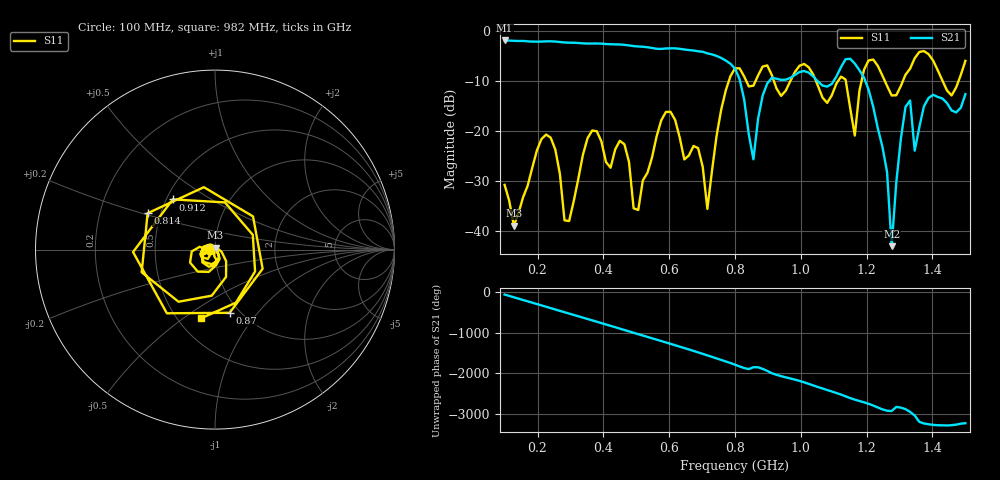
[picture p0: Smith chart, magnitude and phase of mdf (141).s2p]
! NanoVNA-App
! Date: 2025-09-25 15:39:31
! Start: 100MHz Stop: 1,5GHz Points: 101
! S-Parameter data: F S11 S21 S12 S22
# Hz S RI R 50
!  Frequency  S11_Real  S11_Imag  S21_Real  S21_Imag  S12_Real  S12_Imag  S22_Real  S22_Imag
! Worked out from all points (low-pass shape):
!   101 points, 100 MHz to 1.5 GHz, reference 50 ohm
!   highest |S21| = -1.80 dB at 100 MHz (marker M1); lowest = -43.1 dB at 1.276 GHz (marker M2)
!   |S21| within 3 dB of the highest: start of sweep to 739.4 MHz
!   lowest |S11| = -38.9 dB at 128 MHz (marker M3), VSWR 1.02, Z = 50.3 + j1.08 ohm
!   |S11| at or under -10 dB: start of sweep to 781 MHz; 1.046 GHz to 1.113 GHz (66.35 MHz wide, 6.15 % of centre); 1.256 GHz to 1.31 GHz (54.05 MHz wide, 4.21 % of centre) (the widest 3 of 7)
!   S12 and S22 are empty: the file has one direction only
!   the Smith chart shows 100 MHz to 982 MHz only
!   S11 on the Smith chart (normalised r, x): 100 MHz: 0.94, -0.01; 814 MHz: 0.42, +0.21; 870 MHz: 0.90, -0.73; 912 MHz: 0.54, +0.35; 982 MHz: 0.64, -0.58
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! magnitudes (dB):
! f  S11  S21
! 100 MHz  -30.8  -1.8
! 128 MHz  -38.9  -1.9
! 212 MHz  -21.6  -2.0
! 282 MHz  -37.9  -2.2
! 338 MHz  -24.7  -2.4
! 464 MHz  -22.6  -2.7
! 506 MHz  -35.8  -3.0
! 576 MHz  -17.8  -3.5
! 716 MHz  -35.6  -4.4
! 800 MHz  -7.4  -7.4
! 814 MHz  -7.4  -9.6
! 856 MHz  -10.9  -25.6
! 870 MHz  -8.8  -17.6
! 912 MHz  -8.7  -9.3
! 982 MHz  -8.1  -8.7
! 1.038 GHz  -8.7  -9.0
! 1.164 GHz  -20.9  -6.4
! 1.192 GHz  -7.7  -9.3
! 1.262 GHz  -10.9  -28.2
! 1.276 GHz  -12.8  -43.1
! 1.318 GHz  -8.7  -15.1
! 1.5 GHz  -5.9  -12.6
